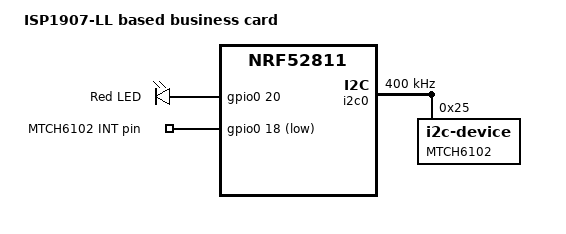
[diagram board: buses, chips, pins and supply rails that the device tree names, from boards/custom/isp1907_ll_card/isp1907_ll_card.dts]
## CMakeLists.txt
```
cmake_minimum_required(VERSION 3.20.0)
find_package(Zephyr REQUIRED HINTS $ENV{ZEPHYR_BASE})

project(firmware)

target_sources(app PRIVATE
  src/main.c
  src/mtch6102.c
)

include_directories(include)
```

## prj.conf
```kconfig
CONFIG_BT=y
CONFIG_BT_PERIPHERAL=y
CONFIG_BT_DEVICE_NAME="Card"
CONFIG_BT_HIDS=y
CONFIG_BT_CONN_CTX=y

CONFIG_BT_DIS=y
CONFIG_BT_DIS_MANUF_NAME=y
CONFIG_BT_DIS_MANUF_NAME_STR="object1037"
CONFIG_BT_DIS_PNP=y
CONFIG_BT_DIS_PNP_VID_SRC=2
CONFIG_BT_DIS_PNP_VID=0x6666
CONFIG_BT_DIS_PNP_PID=0xCA2D
CONFIG_BT_DIS_PNP_VER=0x0100

CONFIG_BT_SMP=y
CONFIG_BT_HIDS_DEFAULT_PERM_RW_ENCRYPT=y
CONFIG_BT_HIDS_DEFAULT_PERM_RW_AUTHEN=n
CONFIG_BT_SMP_ENFORCE_MITM=n
CONFIG_BT_SMP_ALLOW_UNAUTH_OVERWRITE=y
CONFIG_BT_PRIVACY=y

CONFIG_SETTINGS=y
CONFIG_BT_SETTINGS=y
CONFIG_FLASH=y
CONFIG_FLASH_PAGE_LAYOUT=y
CONFIG_FLASH_MAP=y
CONFIG_NVS=y
CONFIG_SETTINGS_NVS=y

CONFIG_GPIO=y
CONFIG_I2C=y
CONFIG_WATCHDOG=n
CONFIG_SPI=n
CONFIG_SERIAL=n

# Interrupts
CONFIG_DYNAMIC_INTERRUPTS=n
CONFIG_IRQ_OFFLOAD=n

# Memory protection
CONFIG_THREAD_STACK_INFO=n
CONFIG_THREAD_CUSTOM_DATA=n
CONFIG_FPU=n

# Boot
CONFIG_NCS_BOOT_BANNER=n
CONFIG_BOOT_BANNER=n
CONFIG_BOOT_DELAY=0

# Console
CONFIG_CONSOLE=n
CONFIG_UART_CONSOLE=n
CONFIG_STDOUT_CONSOLE=n
CONFIG_PRINTK=n
CONFIG_EARLY_CONSOLE=n

# Build
CONFIG_SIZE_OPTIMIZATIONS=y

# ARM
CONFIG_ARM_MPU=n
# END Configurations from basic/minimal

CONFIG_MAIN_STACK_SIZE=1024
CONFIG_PRIVILEGED_STACK_SIZE=512
CONFIG_BT_RX_STACK_SIZE=1024
CONFIG_BT_HCI_TX_STACK_SIZE_WITH_PROMPT=y
CONFIG_BT_HCI_TX_STACK_SIZE=640
CONFIG_SYSTEM_WORKQUEUE_STACK_SIZE=1536
CONFIG_MPSL_WORK_STACK_SIZE=640
CONFIG_IDLE_STACK_SIZE=128
CONFIG_ISR_STACK_SIZE=1024

# Disable features not needed
CONFIG_TIMESLICING=n
CONFIG_COMMON_LIBC_MALLOC=n
CONFIG_LOG=n
CONFIG_ASSERT=n

# Disable Bluetooth features not needed
CONFIG_BT_DEBUG_NONE=y
CONFIG_BT_ASSERT=n
CONFIG_BT_DATA_LEN_UPDATE=n
CONFIG_BT_PHY_UPDATE=n
CONFIG_BT_GATT_CACHING=n
CONFIG_BT_GAP_PERIPHERAL_PREF_PARAMS=n
CONFIG_BT_HCI_VS=n

# Disable Bluetooth controller features not needed
CONFIG_BT_CTLR_PRIVACY=n
CONFIG_BT_CTLR_PHY_2M=n

# Reduce Bluetooth buffers
# CONFIG_BT_BUF_EVT_DISCARDABLE_COUNT=1
# CONFIG_BT_BUF_EVT_DISCARDABLE_SIZE=43
# CONFIG_BT_BUF_EVT_RX_COUNT=2

# CONFIG_BT_CONN_TX_MAX=3
# CONFIG_BT_L2CAP_TX_BUF_COUNT=2
# CONFIG_BT_ATT_TX_COUNT=2
# CONFIG_BT_BUF_EVT_RX_COUNT=4
# CONFIG_BT_BUF_ACL_TX_COUNT=3
# CONFIG_BT_BUF_ACL_TX_SIZE=27
```

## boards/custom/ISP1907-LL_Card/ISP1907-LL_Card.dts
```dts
/dts-v1/;
#include <nordic/nrf52811_qfaa.dtsi>
#include "ISP1907-LL_Card-pinctrl.dtsi"

/ {
	model = "ISP1907-LL based business card";
	compatible = "custom,ISP1907-LL-Card";

	chosen {
		zephyr,sram = &sram0;
		zephyr,flash = &flash0;
		zephyr,code-partition = &slot0_partition;
	};
};

&flash0 {
	partitions {
		compatible = "fixed-partitions";
		#address-cells = <1>;
		#size-cells = <1>;

		boot_partition: partition@0 {
			label = "mcuboot";
			reg = <0x00000000 DT_SIZE_K(48)>;
		};

		slot0_partition: partition@c000 {
			label = "image-0";
			reg = <0x0000c000 DT_SIZE_K(56)>;
		};

		slot1_partition: partition@1a000 {
			label = "image-1";
			reg = <0x0001a000 DT_SIZE_K(56)>;
		};

		storage_partition: partition@28000 {
			label = "storage";
			reg = <0x00028000 DT_SIZE_K(32)>;
		};
	};
};
```

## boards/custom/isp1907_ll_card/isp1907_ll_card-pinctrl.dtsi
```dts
&pinctrl {
  i2c0_default: i2c0_default {
    group1 {
      psels = <NRF_PSEL(TWIM_SDA, 0, 16)>,
              <NRF_PSEL(TWIM_SCL, 0, 12)>;
    };
  };

  i2c0_sleep: i2c0_sleep {
    group1 {
      psels = <NRF_PSEL(TWIM_SDA, 0, 16)>,
              <NRF_PSEL(TWIM_SCL, 0, 12)>;
    };
  };
};
```

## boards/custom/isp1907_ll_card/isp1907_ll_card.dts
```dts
/dts-v1/;
#include <nordic/nrf52811_qfaa.dtsi>
#include "isp1907_ll_card-pinctrl.dtsi"

/ {
	model = "ISP1907-LL based business card";
	compatible = "custom,isp1907_ll_card";

	chosen {
		zephyr,sram = &sram0;
		zephyr,flash = &flash0;
		zephyr,code-partition = &slot0_partition;
	};

	leds {
		compatible = "gpio-leds";
		led0: led_0 {
			gpios = <&gpio0 20 (GPIO_PULL_DOWN | GPIO_ACTIVE_HIGH)>;
			label = "Red LED";
		};
	};

	interrupts {
		compatible = "gpio-keys";
		debounce-interval-ms = <0>;
		int0: int_0 {
			gpios = <&gpio0 18 GPIO_ACTIVE_LOW>;
			label = "MTCH6102 INT pin";
		};
	};

	aliases {
		led0 = &led0;
		int0 = &int0;
		trackpad0 = &mtch6102;
	};
};

&reg {
	regulator-initial-mode = <NRF5X_REG_MODE_DCDC>;
};

&uicr {
	gpio-as-nreset;
};

&gpiote {
	status = "okay";
};

&gpio0 {
	status = "okay";
	sense-edge-mask = <0xffffffff>;
};

&i2c0 {
	compatible = "nordic,nrf-twim";
	status = "okay";
	clock-frequency = <I2C_BITRATE_FAST>;
	pinctrl-0 = <&i2c0_default>;
	pinctrl-1 = <&i2c0_sleep>;
	pinctrl-names = "default", "sleep";

	mtch6102: mtch6102@25 {
		compatible = "i2c-device";
		reg = <0x25>;
		label = "MTCH6102";
	};
};

&flash0 {
	partitions {
		compatible = "fixed-partitions";
		#address-cells = <1>;
		#size-cells = <1>;

		boot_partition: partition@0 {
			label = "mcuboot";
			reg = <0x00000000 DT_SIZE_K(48)>;
		};

		slot0_partition: partition@c000 {
			label = "image-0";
			reg = <0x0000c000 DT_SIZE_K(56)>;
		};

		slot1_partition: partition@1a000 {
			label = "image-1";
			reg = <0x0001a000 DT_SIZE_K(56)>;
		};

		storage_partition: partition@28000 {
			label = "storage";
			reg = <0x00028000 DT_SIZE_K(32)>;
		};
	};
};
```

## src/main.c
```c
#include <zephyr/kernel.h>
#include <zephyr/drivers/gpio.h>
#include <zephyr/drivers/i2c.h>
#include <zephyr/settings/settings.h>

#include <zephyr/bluetooth/bluetooth.h>
#include <zephyr/bluetooth/gap.h>
#include <zephyr/bluetooth/conn.h>
#include <bluetooth/services/hids.h>

#include <zephyr/pm/device.h>
#include <zephyr/sys/poweroff.h>

#include "mtch6102.h"

#define LED0_NODE DT_ALIAS(led0)
#define INT0_NODE DT_ALIAS(int0)
#define I2C0_NODE DT_ALIAS(trackpad0)

#define DEVICE_NAME_LEN (sizeof(CONFIG_BT_DEVICE_NAME) - 1)

static void mouse_handler(struct k_work *work);
static void adv_work_handler(struct k_work *work);
static void trackpad_work_handler(struct k_work *work);
static void pointer_movement_send(int16_t x_delta, int16_t y_delta, gesture_t gesture);

static struct pos_gesture {
  int16_t x_val;
  int16_t y_val;
  gesture_t gesture;
} posi_gest;
static struct pos_gesture delta_ges_reset = {0};
static struct pos_gesture delta_ges_click = {0, 0, 1};
static bool is_touched = false;

static struct bt_conn *connection;
static bool in_boot_mode;
static volatile bool is_adv_running = false;

BT_HIDS_DEF(hids_obj, 3);

K_MSGQ_DEFINE(hids_queue, sizeof(struct pos_gesture), 5, 1);

static K_WORK_DEFINE(hids_work, mouse_handler);
static K_WORK_DEFINE(adv_work, adv_work_handler);
static K_WORK_DEFINE(trackpad_work, trackpad_work_handler);

static const struct gpio_dt_spec led = GPIO_DT_SPEC_GET(LED0_NODE, gpios);
static const struct gpio_dt_spec int_pin = GPIO_DT_SPEC_GET(INT0_NODE, gpios);
static const struct i2c_dt_spec trackpad = I2C_DT_SPEC_GET(I2C0_NODE);

static struct gpio_callback int_cb_data;

static const struct bt_data ad[] = {
    BT_DATA_BYTES(BT_DATA_GAP_APPEARANCE, (BT_APPEARANCE_HID_TOUCHPAD >> 0) & 0xFF, (BT_APPEARANCE_HID_TOUCHPAD >> 8) & 0xFF),
    BT_DATA_BYTES(BT_DATA_FLAGS, (BT_LE_AD_GENERAL | BT_LE_AD_NO_BREDR)),
    BT_DATA_BYTES(BT_DATA_UUID16_ALL, BT_UUID_16_ENCODE(BT_UUID_HIDS_VAL)),
};

static const struct bt_data sd[] = {
    BT_DATA(BT_DATA_NAME_COMPLETE, CONFIG_BT_DEVICE_NAME, DEVICE_NAME_LEN),
};

static void mouse_handler(struct k_work *work) {
  struct pos_gesture pos_ges;

  while (!k_msgq_get(&hids_queue, &pos_ges, K_NO_WAIT)) {
    pointer_movement_send(pos_ges.x_val, pos_ges.y_val, pos_ges.gesture);
  }
}

static void adv_work_handler(struct k_work *work) {
  if (is_adv_running) return;

  int ret = bt_le_adv_start(BT_LE_ADV_CONN_FAST_2, ad, ARRAY_SIZE(ad), sd, ARRAY_SIZE(sd));
  if (ret) return;
  is_adv_running = true;
}

static void trackpad_work_handler(struct k_work *work) {
  int ret;
  int16_t x_new, y_new;
  struct pos_gesture delta_ges = {0};

  bool was_touched = is_touched;

  // flip x/y here
  ret = get_touch_data(&trackpad, &y_new, &x_new, &is_touched, &delta_ges.gesture);
  if (ret < 0) return;

  y_new = TOUCH_X_MAX - y_new;

  if (!was_touched && is_touched) {
    posi_gest.x_val = x_new;
    posi_gest.y_val = y_new;
  } else if (was_touched && is_touched) {
    delta_ges.x_val = x_new - posi_gest.x_val;
    delta_ges.y_val = y_new - posi_gest.y_val;

    if (delta_ges.x_val || delta_ges.y_val) {
      posi_gest.x_val = x_new;
      posi_gest.y_val = y_new;
    }
  }

  if (delta_ges.x_val == 0 && delta_ges.y_val == 0 && delta_ges.gesture == posi_gest.gesture) {
    return;
  }

  posi_gest.gesture = delta_ges.gesture;

  ret = k_msgq_put(&hids_queue, &delta_ges, K_NO_WAIT);
  if (ret) return;

  if (k_msgq_num_used_get(&hids_queue) == 1) {
    k_work_submit(&hids_work);
  }
}

static void hids_pm_evt_handler(enum bt_hids_pm_evt evt, struct bt_conn *conn) {
  switch (evt) {
    case BT_HIDS_PM_EVT_BOOT_MODE_ENTERED:
      in_boot_mode = true;
      break;

    case BT_HIDS_PM_EVT_REPORT_MODE_ENTERED:
      in_boot_mode = false;
      break;

    default:
      break;
  }
}

static void hid_init(void) {
  int ret;
  struct bt_hids_init_param hids_init_param = {0};
  struct bt_hids_inp_rep *hids_inp_rep;

  static const uint8_t report_map[] = {
      0x05, 0x01, /* Usage Page (Generic Desktop) */
      0x09, 0x02, /* Usage (Mouse) */

      0xA1, 0x01, /* Collection (Application) */

      0x09, 0x01,       /* Usage (Pointer) */
      0xA1, 0x00,       /* Collection (Physical) */
      0x05, 0x01,       /* Usage Page (Generic Desktop) */
      0x09, 0x30,       /* Usage (X) */
      0x09, 0x31,       /* Usage (Y) */
      0x16, 0x01, 0xFE, /* Logical minimum (-511) */
      0x26, 0xFF, 0x01, /* Logical maximum (511) */
      0x75, 0x0A,       /* Report Size (10) */
      0x95, 0x02,       /* Report Count (2) */
      0x81, 0x06,       /* Input (Data, Variable, Relative) */

      0x05, 0x09, /* Usage Page (Buttons) */
      0x19, 0x01, /* Usage Minimum (01) */
      0x29, 0x03, /* Usage Maximum (03) */
      0x15, 0x00, /* Logical Minimum (0) */
      0x25, 0x01, /* Logical Maximum (1) */
      0x75, 0x01, /* Report Size (1) */
      0x95, 0x03, /* Report Count (3) */
      0x81, 0x02, /* Input (Data, Variable, Absolute) */
      0x75, 0x01, /* Report Size (1) */
      0x95, 0x01, /* Report Count (1) */
      0x81, 0x01, /* Input (Constant) for padding */
      0xC0,       /* End Collection (Physical) */
      0xC0,       /* End Collection (Application) */
  };

  hids_init_param.rep_map.data = report_map;
  hids_init_param.rep_map.size = sizeof(report_map);

  hids_init_param.info.bcd_hid = 0x0111;       // HID version 1.11
  hids_init_param.info.b_country_code = 0x00;  // No localization
  hids_init_param.info.flags = (BT_HIDS_REMOTE_WAKE | BT_HIDS_NORMALLY_CONNECTABLE);

  hids_inp_rep = &hids_init_param.inp_rep_group_init.reports[0];
  hids_inp_rep->size = 3;
  hids_inp_rep->id = 0;
  hids_init_param.inp_rep_group_init.cnt++;

  hids_init_param.is_mouse = true;
  hids_init_param.pm_evt_handler = hids_pm_evt_handler;

  ret = bt_hids_init(&hids_obj, &hids_init_param);
}

static void pointer_movement_send(int16_t x_delta, int16_t y_delta, gesture_t gesture) {
  if (!connection) return;

  x_delta = MAX(MIN(x_delta, 511), -511);
  y_delta = MAX(MIN(y_delta, 511), -511);

  uint8_t buttons = 0;

  switch (gesture) {
    case GESTURE_CLICK:
      buttons |= 0x01;
      k_msgq_put(&hids_queue, &delta_ges_reset, K_NO_WAIT);
      break;
    case GESTURE_CLICK_HOLD:
      buttons |= 0x02;
      break;
    case GESTURE_DOUBLE_CLICK:
      buttons |= 0x01;
      k_msgq_put(&hids_queue, &delta_ges_reset, K_NO_WAIT);
      k_msgq_put(&hids_queue, &delta_ges_click, K_NO_WAIT);
      k_msgq_put(&hids_queue, &delta_ges_reset, K_NO_WAIT);
      break;
    default:
      break;
  }

  if (in_boot_mode) {
    bt_hids_boot_mouse_inp_rep_send(&hids_obj, connection, &buttons, (int8_t)x_delta, (int8_t)y_delta, NULL);
  } else {
    uint8_t buffer[3];

    uint16_t ux = (uint16_t)(x_delta & 0x03FF);
    uint16_t uy = (uint16_t)(y_delta & 0x03FF);

    buffer[0] = (uint8_t)(ux & 0xFF);
    buffer[1] = (uint8_t)(((ux >> 8) & 0x03) | ((uy & 0x3F) << 2));
    buffer[2] = (uint8_t)(((uy >> 6) & 0x0F) | (buttons << 4));

    bt_hids_inp_rep_send(&hids_obj, connection, 0, buffer, sizeof(buffer), NULL);
  }
}

static void advertising_start(void) {
  k_work_submit(&adv_work);
}

static void on_connected(struct bt_conn *conn, uint8_t err) {
  is_adv_running = false;
  if (err) return;

  err = bt_hids_connected(&hids_obj, conn);
  if (err) return;

  connection = conn;
  in_boot_mode = false;

  gpio_pin_set_dt(&led, 1);
  k_msleep(500);
  gpio_pin_set_dt(&led, 0);
}

static void on_disconnected(struct bt_conn *conn, uint8_t reason) {
  bt_hids_disconnected(&hids_obj, conn);

  connection = NULL;

  advertising_start();
}

void on_recycled(void) {
  advertising_start();
}

static void pairing_complete(struct bt_conn *conn, bool bonded) {
  gpio_pin_set_dt(&led, 1);
  k_msleep(250);
  gpio_pin_set_dt(&led, 0);
}

static void pairing_failed(struct bt_conn *conn, enum bt_security_err reason) {
  for (size_t i = 0; i < 3; i++) {
    gpio_pin_set_dt(&led, 0);
    k_msleep(200);
    gpio_pin_set_dt(&led, 1);
    k_msleep(200);
  }
  gpio_pin_set_dt(&led, 0);
  return;
}

static void int_callback(const struct device *dev, struct gpio_callback *cb, uint32_t pins) {
  k_work_submit(&trackpad_work);
}

static struct bt_conn_cb connection_callbacks = {
    .connected = on_connected,
    .disconnected = on_disconnected,
    .recycled = on_recycled,
};

static struct bt_conn_auth_info_cb conn_auth_info_callbacks = {
    .pairing_complete = pairing_complete,
    .pairing_failed = pairing_failed,
};

int main(void) {
  int ret;

  if (!gpio_is_ready_dt(&led)) return 0;
  ret = gpio_pin_configure_dt(&led, GPIO_OUTPUT_INACTIVE);
  if (ret < 0) return 0;

  if (!gpio_is_ready_dt(&int_pin)) return 0;
  ret = gpio_pin_configure_dt(&int_pin, GPIO_INPUT);
  if (ret < 0) return 0;
  ret = gpio_pin_interrupt_configure_dt(&int_pin, GPIO_INT_EDGE_FALLING);
  if (ret < 0) return 0;

  ret = bt_conn_cb_register(&connection_callbacks);
  if (ret < 0) return 0;
  ret = bt_conn_auth_cb_register(NULL);
  if (ret < 0) return 0;
  ret = bt_conn_auth_info_cb_register(&conn_auth_info_callbacks);
  if (ret < 0) return 0;

  gpio_init_callback(&int_cb_data, int_callback, BIT(int_pin.pin));
  gpio_add_callback(int_pin.port, &int_cb_data);

  hid_init();

  ret = bt_enable(NULL);
  if (ret < 0) return 0;

  settings_load();
  advertising_start();

  if (!device_is_ready(trackpad.bus)) return 0;

  ret = init_mtch6102(&trackpad);
  if (ret < 0) return 0;

  return 0;
}
```

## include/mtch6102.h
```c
#ifndef MTCH6102_H__
#define MTCH6102_H__

#include <stdint.h>
#include <stdbool.h>
#include <zephyr/drivers/i2c.h>

#define CMD_ADDR 0x04

#define TOUCH_STATE_ADDR 0x10
#define TOUCH_X_ADDR 0x11
#define TOUCH_Y_ADDR 0x12
#define TOUCH_LSB_ADDR 0x13
#define GESTURE_STATE_ADDR 0x14

#define ACTIVE_PERIOD_L_ADDR 0x25
#define ACTIVE_PERIOD_H_ADDR 0x26
#define IDLE_PERIOD_L_ADDR 0x27
#define IDLE_PERIOD_H_ADDR 0x28

#define TAP_HOLD_TIME_L_ADDR 0x3C
#define TAP_HOLD_TIME_H_ADDR 0x3D

#define CMD_CFG 0x20

#define STATE_TOUCH_BM 0x01
#define STATE_GESTURE_BM 0x02

#define TOUCH_X_MAX 576
#define TOUCH_Y_MAX 384

typedef enum gesture_t {
  GESTURE_NONE = 0x00,
  GESTURE_CLICK = 0x10,
  GESTURE_CLICK_HOLD = 0x11,
  GESTURE_DOUBLE_CLICK = 0x20,
  GESTURE_SWIPE_DOWN = 0x31,
  GESTURE_SWIPE_DOWN_HOLD = 0x32,
  GESTURE_SWIPE_RIGHT = 0x41,
  GESTURE_SWIPE_RIGHT_HOLD = 0x42,
  GESTURE_SWIPE_UP = 0x51,
  GESTURE_SWIPE_UP_HOLD = 0x52,
  GESTURE_SWIPE_LEFT = 0x61,
  GESTURE_SWIPE_LEFT_HOLD = 0x62,
} gesture_t;

int init_mtch6102(const struct i2c_dt_spec *trackpad);
int get_touch_data(const struct i2c_dt_spec *trackpad, uint16_t *touch_x, uint16_t *touch_y, bool *is_touched, gesture_t *gesture);

#endif // MTCH6102_H__
```

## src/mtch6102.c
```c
#include "mtch6102.h"

static int apply_config(const struct i2c_dt_spec *trackpad) {
  int ret;

  uint8_t cmd = CMD_CFG;
  ret = i2c_reg_write_byte_dt(trackpad, CMD_ADDR, cmd);
  if (ret < 0) return -1;

  return 0;
}

int init_mtch6102(const struct i2c_dt_spec *trackpad) {
  int ret;

  uint8_t idle_period_h = 0x0c;
  uint8_t idle_period_l = 0x99;  // 100 ms
  uint8_t tap_hold_time_h = 0x27;
  uint8_t tap_hold_time_l = 0x10;// 2 s

  ret = i2c_reg_write_byte_dt(trackpad, IDLE_PERIOD_L_ADDR, idle_period_l);
  if (ret < 0) return -1;
  ret = i2c_reg_write_byte_dt(trackpad, IDLE_PERIOD_H_ADDR, idle_period_h);
  if (ret < 0) return -1;
  ret = i2c_reg_write_byte_dt(trackpad, TAP_HOLD_TIME_L_ADDR, tap_hold_time_l);
  if (ret < 0) return -1;
  ret = i2c_reg_write_byte_dt(trackpad, TAP_HOLD_TIME_H_ADDR, tap_hold_time_h);
  if (ret < 0) return -1;

  ret = apply_config(trackpad);

  return ret;
}

int get_touch_data(
  const struct i2c_dt_spec *trackpad,
  uint16_t *touch_x,
  uint16_t *touch_y,
  bool *is_touched,
  gesture_t *gesture
) {
  int ret;
  uint8_t touch_data[5] = {0};

  ret = i2c_burst_read_dt(trackpad, TOUCH_STATE_ADDR, touch_data, sizeof(touch_data));
  if (ret < 0) return -1;

  *is_touched = (touch_data[0] & STATE_TOUCH_BM) != 0;

  *touch_x = ((touch_data[1] << 4) | (touch_data[3] >> 4));
  *touch_y = (touch_data[2] << 4) | (touch_data[3] & 0x0F);

  *gesture = (gesture_t)touch_data[4];

  return 0;
}
```
